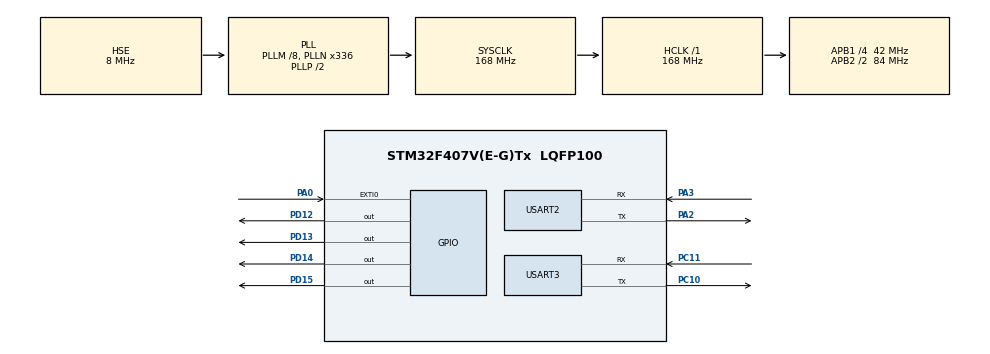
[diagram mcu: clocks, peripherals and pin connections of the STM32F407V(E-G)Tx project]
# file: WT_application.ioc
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Mcu.Family=STM32F4
Mcu.Name=STM32F407V(E-G)Tx
Mcu.Package=LQFP100
NVIC.EXTI0_IRQn=true\:0\:0\:false\:false\:true\:true
NVIC.PriorityGroup=NVIC_PRIORITYGROUP_4
PA0-WKUP.Signal=GPXTI0
PA2.Mode=Asynchronous
PA2.Signal=USART2_TX
PA3.Mode=Asynchronous
PA3.Signal=USART2_RX
PC10.Mode=Asynchronous
PC10.Signal=USART3_TX
PC11.Mode=Asynchronous
PC11.Signal=USART3_RX
PD12.Signal=GPIO_Output
PD13.Signal=GPIO_Output
PD14.Signal=GPIO_Output
PD15.Signal=GPIO_Output
PH0-OSC_IN.Mode=HSE-External-Oscillator
PH0-OSC_IN.Signal=RCC_OSC_IN
PH1-OSC_OUT.Mode=HSE-External-Oscillator
PH1-OSC_OUT.Signal=RCC_OSC_OUT
ProjectManager.HeapSize=0x200
ProjectManager.StackSize=0x400
ProjectManager.TargetToolchain=SW4STM32
RCC.48MHZClocksFreq_Value=84000000
RCC.AHBFreq_Value=168000000
RCC.APB1CLKDivider=RCC_HCLK_DIV4
RCC.APB1Freq_Value=42000000
RCC.APB1TimFreq_Value=84000000
RCC.APB2CLKDivider=RCC_HCLK_DIV2
RCC.APB2Freq_Value=84000000
RCC.APB2TimFreq_Value=168000000
RCC.CortexFreq_Value=168000000
RCC.HCLKFreq_Value=168000000
RCC.HSE_VALUE=8000000
RCC.HSI_VALUE=16000000
RCC.LSE_VALUE=32768
RCC.PLLM=8
RCC.PLLN=336
RCC.PLLSourceVirtual=RCC_PLLSOURCE_HSE
RCC.SYSCLKFreq_VALUE=168000000
RCC.SYSCLKSource=RCC_SYSCLKSOURCE_PLLCLK
RCC.VCOOutputFreq_Value=336000000
USART2.VirtualMode=VM_ASYNC
USART3.VirtualMode=VM_ASYNC
VP_CRC_VS_CRC.Mode=CRC_Activate
board=custom

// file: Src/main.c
/**
  ******************************************************************************
  * @file           : main.c
  * @brief          : Main program body
  ******************************************************************************
  ** This notice applies to any and all portions of this file
  * that are not between comment pairs USER CODE BEGIN and
  * USER CODE END. Other portions of this file, whether
  * inserted by the user or by software development tools
  * are owned by their respective copyright owners.
  *
  * COPYRIGHT(c) 2018 STMicroelectronics
  *
  * Redistribution and use in source and binary forms, with or without modification,
  * are permitted provided that the following conditions are met:
  *   1. Redistributions of source code must retain the above copyright notice,
  *      this list of conditions and the following disclaimer.
  *   2. Redistributions in binary form must reproduce the above copyright notice,
  *      this list of conditions and the following disclaimer in the documentation
  *      and/or other materials provided with the distribution.
  *   3. Neither the name of STMicroelectronics nor the names of its contributors
  *      may be used to endorse or promote products derived from this software
  *      without specific prior written permission.
  *
  * THIS SOFTWARE IS PROVIDED BY THE COPYRIGHT HOLDERS AND CONTRIBUTORS "AS IS"
  * AND ANY EXPRESS OR IMPLIED WARRANTIES, INCLUDING, BUT NOT LIMITED TO, THE
  * IMPLIED WARRANTIES OF MERCHANTABILITY AND FITNESS FOR A PARTICULAR PURPOSE ARE
  * DISCLAIMED. IN NO EVENT SHALL THE COPYRIGHT HOLDER OR CONTRIBUTORS BE LIABLE
  * FOR ANY DIRECT, INDIRECT, INCIDENTAL, SPECIAL, EXEMPLARY, OR CONSEQUENTIAL
  * DAMAGES (INCLUDING, BUT NOT LIMITED TO, PROCUREMENT OF SUBSTITUTE GOODS OR
  * SERVICES; LOSS OF USE, DATA, OR PROFITS; OR BUSINESS INTERRUPTION) HOWEVER
  * CAUSED AND ON ANY THEORY OF LIABILITY, WHETHER IN CONTRACT, STRICT LIABILITY,
  * OR TORT (INCLUDING NEGLIGENCE OR OTHERWISE) ARISING IN ANY WAY OUT OF THE USE
  * OF THIS SOFTWARE, EVEN IF ADVISED OF THE POSSIBILITY OF SUCH DAMAGE.
  *
  ******************************************************************************
  */
#include "main.h"
#include "stm32f4xx_hal.h"

/* USER CODE BEGIN Includes */
#include <stdarg.h>
#include <string.h>
#include <stdint.h>

#define BL_DEBUG_MSG_EN
#define D_UART   &huart3
#define C_UART   &huart2
/* USER CODE END Includes */

CRC_HandleTypeDef hcrc;

UART_HandleTypeDef huart2;
UART_HandleTypeDef huart3;

/* USER CODE BEGIN PV */
/* Private variables ---------------------------------------------------------*/

/* USER CODE END PV */

void SystemClock_Config(void);
static void MX_GPIO_Init(void);
static void MX_CRC_Init(void);
static void MX_USART2_UART_Init(void);
static void MX_USART3_UART_Init(void);

/* USER CODE BEGIN PFP */
/* Private function prototypes -----------------------------------------------*/
static void printmsg(char *format, ...);
/* USER CODE END PFP */

int main(void)
{

  /* MCU Configuration----------------------------------------------------------*/

  /* Reset of all peripherals, Initializes the Flash interface and the Systick. */
  HAL_Init();

  /* Configure the system clock */
  SystemClock_Config();

  /* Initialize all configured peripherals */
  MX_GPIO_Init();
  MX_CRC_Init();
  MX_USART2_UART_Init();
  MX_USART3_UART_Init();
  /* USER CODE BEGIN 2 */
  HAL_GPIO_WritePin(GPIOD, GPIO_PIN_12, GPIO_PIN_SET);
  HAL_GPIO_WritePin(GPIOD, GPIO_PIN_13, GPIO_PIN_SET);
  HAL_GPIO_WritePin(GPIOD, GPIO_PIN_14, GPIO_PIN_SET);
  HAL_GPIO_WritePin(GPIOD, GPIO_PIN_15, GPIO_PIN_SET);

  uint32_t count;
  /* USER CODE END 2 */

  /* Infinite loop */
  while (1)
  {

  /* USER CODE BEGIN 3 */
      printmsg("Hello From user App...\r\n");

      HAL_GPIO_TogglePin(GPIOD, GPIO_PIN_12);
      HAL_GPIO_TogglePin(GPIOD, GPIO_PIN_13);
      HAL_GPIO_TogglePin(GPIOD, GPIO_PIN_14);
      HAL_GPIO_TogglePin(GPIOD, GPIO_PIN_15);

      for (int i = 0; i < 20600000; i++)
      {
          count++;
      }
      count = 0;
  }
  /* USER CODE END 3 */

}

void SystemClock_Config(void)
{

  RCC_OscInitTypeDef RCC_OscInitStruct;
  RCC_ClkInitTypeDef RCC_ClkInitStruct;

    /**Configure the main internal regulator output voltage
    */
  __HAL_RCC_PWR_CLK_ENABLE();

  __HAL_PWR_VOLTAGESCALING_CONFIG(PWR_REGULATOR_VOLTAGE_SCALE1);

    /**Initializes the CPU, AHB and APB busses clocks
    */
  RCC_OscInitStruct.OscillatorType = RCC_OSCILLATORTYPE_HSE;
  RCC_OscInitStruct.HSEState = RCC_HSE_ON;
  RCC_OscInitStruct.PLL.PLLState = RCC_PLL_ON;
  RCC_OscInitStruct.PLL.PLLSource = RCC_PLLSOURCE_HSE;
  RCC_OscInitStruct.PLL.PLLM = 8;
  RCC_OscInitStruct.PLL.PLLN = 336;
  RCC_OscInitStruct.PLL.PLLP = RCC_PLLP_DIV2;
  RCC_OscInitStruct.PLL.PLLQ = 4;
  if (HAL_RCC_OscConfig(&RCC_OscInitStruct) != HAL_OK)
  {
    _Error_Handler(__FILE__, __LINE__);
  }

    /**Initializes the CPU, AHB and APB busses clocks
    */
  RCC_ClkInitStruct.ClockType = RCC_CLOCKTYPE_HCLK|RCC_CLOCKTYPE_SYSCLK
                              |RCC_CLOCKTYPE_PCLK1|RCC_CLOCKTYPE_PCLK2;
  RCC_ClkInitStruct.SYSCLKSource = RCC_SYSCLKSOURCE_PLLCLK;
  RCC_ClkInitStruct.AHBCLKDivider = RCC_SYSCLK_DIV1;
  RCC_ClkInitStruct.APB1CLKDivider = RCC_HCLK_DIV4;
  RCC_ClkInitStruct.APB2CLKDivider = RCC_HCLK_DIV2;

  if (HAL_RCC_ClockConfig(&RCC_ClkInitStruct, FLASH_LATENCY_5) != HAL_OK)
  {
    _Error_Handler(__FILE__, __LINE__);
  }

    /**Configure the Systick interrupt time
    */
  HAL_SYSTICK_Config(HAL_RCC_GetHCLKFreq()/1000);

    /**Configure the Systick
    */
  HAL_SYSTICK_CLKSourceConfig(SYSTICK_CLKSOURCE_HCLK);

  /* SysTick_IRQn interrupt configuration */
  HAL_NVIC_SetPriority(SysTick_IRQn, 0, 0);
}

/* CRC init function */
static void MX_CRC_Init(void)
{

  hcrc.Instance = CRC;
  if (HAL_CRC_Init(&hcrc) != HAL_OK)
  {
    _Error_Handler(__FILE__, __LINE__);
  }

}

/* USART2 init function */
static void MX_USART2_UART_Init(void)
{

  huart2.Instance = USART2;
  huart2.Init.BaudRate = 115200;
  huart2.Init.WordLength = UART_WORDLENGTH_8B;
  huart2.Init.StopBits = UART_STOPBITS_1;
  huart2.Init.Parity = UART_PARITY_NONE;
  huart2.Init.Mode = UART_MODE_TX_RX;
  huart2.Init.HwFlowCtl = UART_HWCONTROL_NONE;
  huart2.Init.OverSampling = UART_OVERSAMPLING_16;
  if (HAL_UART_Init(&huart2) != HAL_OK)
  {
    _Error_Handler(__FILE__, __LINE__);
  }

}

/* USART3 init function */
static void MX_USART3_UART_Init(void)
{

  huart3.Instance = USART3;
  huart3.Init.BaudRate = 115200;
  huart3.Init.WordLength = UART_WORDLENGTH_8B;
  huart3.Init.StopBits = UART_STOPBITS_1;
  huart3.Init.Parity = UART_PARITY_NONE;
  huart3.Init.Mode = UART_MODE_TX_RX;
  huart3.Init.HwFlowCtl = UART_HWCONTROL_NONE;
  huart3.Init.OverSampling = UART_OVERSAMPLING_16;
  if (HAL_UART_Init(&huart3) != HAL_OK)
  {
    _Error_Handler(__FILE__, __LINE__);
  }

}

/** Configure pins as
        * Analog
        * Input
        * Output
        * EVENT_OUT
        * EXTI
*/
static void MX_GPIO_Init(void)
{

  GPIO_InitTypeDef GPIO_InitStruct;

  /* GPIO Ports Clock Enable */
  __HAL_RCC_GPIOH_CLK_ENABLE();
  __HAL_RCC_GPIOA_CLK_ENABLE();
  __HAL_RCC_GPIOD_CLK_ENABLE();
  __HAL_RCC_GPIOC_CLK_ENABLE();

  /*Configure GPIO pin Output Level */
  HAL_GPIO_WritePin(GPIOD, GPIO_PIN_12|GPIO_PIN_13|GPIO_PIN_14|GPIO_PIN_15, GPIO_PIN_RESET);

  /*Configure GPIO pin : PA0 */
  GPIO_InitStruct.Pin = GPIO_PIN_0;
  GPIO_InitStruct.Mode = GPIO_MODE_IT_RISING;
  GPIO_InitStruct.Pull = GPIO_NOPULL;
  HAL_GPIO_Init(GPIOA, &GPIO_InitStruct);

  /*Configure GPIO pins : PD12 PD13 PD14 PD15 */
  GPIO_InitStruct.Pin = GPIO_PIN_12|GPIO_PIN_13|GPIO_PIN_14|GPIO_PIN_15;
  GPIO_InitStruct.Mode = GPIO_MODE_OUTPUT_PP;
  GPIO_InitStruct.Pull = GPIO_NOPULL;
  GPIO_InitStruct.Speed = GPIO_SPEED_FREQ_LOW;
  HAL_GPIO_Init(GPIOD, &GPIO_InitStruct);

  /* EXTI interrupt init*/
  HAL_NVIC_SetPriority(EXTI0_IRQn, 0, 0);
  HAL_NVIC_EnableIRQ(EXTI0_IRQn);

}

/* USER CODE BEGIN 4 */
/* prints formatted string to console over UART */
void printmsg(char *format, ...)
{
#ifdef BL_DEBUG_MSG_EN
    char str[80];
    memset(str, 0x00, sizeof(str));

    /*Extract the the argument list using VA apis */
    va_list args;
    va_start(args, format);
    vsprintf(str, format, args);
    HAL_UART_Transmit(D_UART, (uint8_t *) str, strlen(str), HAL_MAX_DELAY);
    va_end(args);
#endif
}
/* USER CODE END 4 */

void _Error_Handler(char *file, int line)
{
  while(1)
  {
  }
}

/************************ (C) COPYRIGHT STMicroelectronics *****END OF FILE****/
